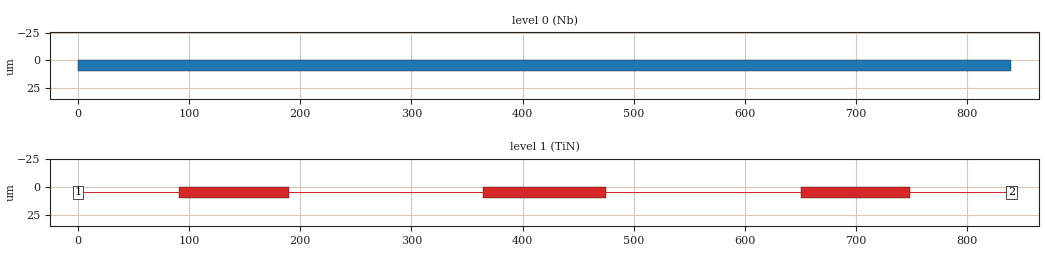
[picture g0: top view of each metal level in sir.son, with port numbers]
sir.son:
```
FTYP SONPROJ 19 ! Sonnet Project File
VER 18.56
HEADER
LIC ucsb2.2.75484
DAT 07/20/2026 15:51:32
BUILT_BY_CREATED unknown "unknown version" 07/20/2026 15:49:27
BUILT_BY_SAVED sonnet 18.56
MDATE 07/20/2026 15:51:32
HDATE 07/20/2026 15:51:32
ANN Created by pysonnet 0.0.4
END HEADER
DIM
ANG DEG
CAP PF
CON /OH
FREQ GHZ
IND NH
LNG UM
RES OH
END DIM
CONTROL
VARSWP
OPTIONS  -d
SPEED 0
SUBSPLAM Y 20
CACHE_ABS 1
Q_ACC N
END CONTROL
GEO
TMET "Free Space" 0 FREESPACE 376.7303136 0 0 0
BMET "Free Space" 0 FREESPACE 376.7303136 0 0 0
MET "TiN" 1 SUP 0 0 0 12
MET "Nb" 2 SUP 0 0 0 0.1
BOX 2 840 10 400 400 20 0
      1000 1 1 0 0 0 0 "Air"
      0.15 10.3 1 1e-05 0 0 0 "aSi"
      500 9.3 1 0 0 0 0 "Sapphire" A 11.5 1 0 0 0 
TECHLAY METAL Nb <UNSPECIFIED> -1 -65534 
0 0 1 N 160 1 1 100 100 0 0 0 Y
END
END
TECHLAY METAL TiN <UNSPECIFIED> -1 -65534 
1 0 0 N 163 1 1 100 100 0 0 0 Y
END
END
LORGN 0 10 U 
POR1 BOX
POLY 80 1
3
1 50 0 0 0 0 5 
POR1 BOX
POLY 81 1
1
2 50 0 0 0 840 5 
NUM 8
0 5 1 N 149 1 1 100 100 0 0 0 Y
TLAYNAM Nb INH
0 0
0 10
840 10
840 0
0 0
END
1 5 0 N 80 1 1 100 100 0 0 0 Y
TLAYNAM TiN INH
0 4.45
91 4.45
91 5.55
0 5.55
0 4.45
END
1 5 0 N 83 1 1 100 100 0 0 0 Y
TLAYNAM TiN INH
91 0.35
189.5 0.35
189.5 9.65
91 9.65
91 0.35
END
1 5 0 N 94 1 1 100 100 0 0 0 Y
TLAYNAM TiN INH
189.5 4.45
364.5 4.45
364.5 5.55
189.5 5.55
189.5 4.45
END
1 5 0 N 105 1 1 100 100 0 0 0 Y
TLAYNAM TiN INH
364.5 0.35
475.5 0.35
475.5 9.65
364.5 9.65
364.5 0.35
END
1 5 0 N 116 1 1 100 100 0 0 0 Y
TLAYNAM TiN INH
475.5 4.45
650.5 4.45
650.5 5.55
475.5 5.55
475.5 4.45
END
1 5 0 N 127 1 1 100 100 0 0 0 Y
TLAYNAM TiN INH
650.5 0.35
749 0.35
749 9.65
650.5 9.65
650.5 0.35
END
1 5 0 N 81 1 1 100 100 0 0 0 Y
TLAYNAM TiN INH
749 4.45
840 4.45
840 5.55
749 5.55
749 4.45
END
END GEO
OPT
MAX 300
END OPT
VARSWP
ENABLED Y
FREQ Y AN ABS_ENTRY 1.0 16.0 -1 300 
END
END VARSWP
FILEOUT
FOLDER .
END FILEOUT
QSG
IMPORT NO
EXTRA_METAL NO
UNITS NO
ALIGN NO
REF NO
VIEW_RES NO
METALS NO
USED YES
END QSG
TRANSLATOR
END TRANSLATOR
```
